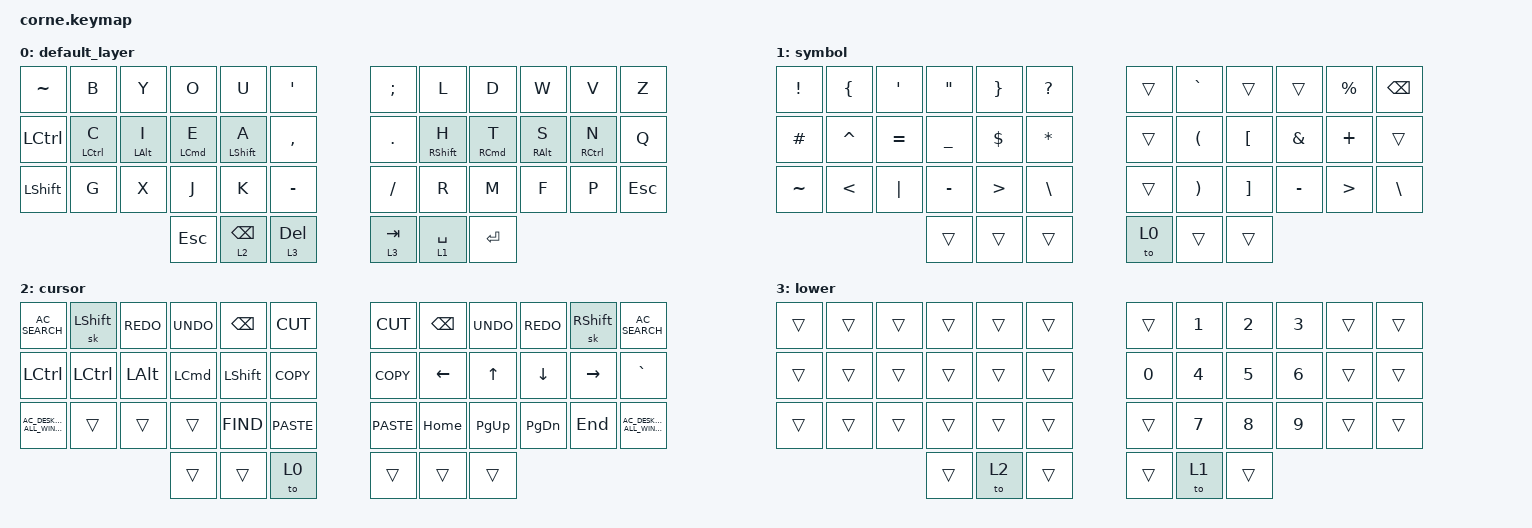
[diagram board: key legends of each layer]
/*
 * Copyright (c) 2020 The ZMK Contributors
 *
 * SPDX-License-Identifier: MIT
 */

#include <behaviors.dtsi>
#include <dt-bindings/zmk/keys.h>

/ {
    keymap {
        compatible = "zmk,keymap";

        default_layer {
            // -----------------------------------------------------------------------------------------
            // |  TAB |  Q  |  W  |  E  |  R  |  T  |   |  Y  |  U   |  I  |  O  |  P  | BSPC |
            // | CTRL |  A  |  S  |  D  |  F  |  G  |   |  H  |  J   |  K  |  L  |  ;  |  '   |
            // | SHFT |  Z  |  X  |  C  |  V  |  B  |   |  N  |  M   |  ,  |  .  |  /  | ESC  |
            //                    | GUI | LWR | SPC |   | ENT | RSE  | ALT |

            bindings = <
&kp TILDE  &kp B               &kp Y           &kp O               &kp U             &kp SINGLE_QUOTE    &kp SEMI    &kp L              &kp D       &kp W            &kp V        &kp Z
&kp LCTRL  &mt LEFT_CONTROL C  &mt LEFT_ALT I  &mt LEFT_COMMAND E  &mt LEFT_SHIFT A  &kp COMMA           &kp PERIOD  &mt RIGHT_SHIFT H  &mt RCMD T  &mt RIGHT_ALT S  &mt RCTRL N  &kp Q
&kp LSHFT  &kp G               &kp X           &kp J               &kp K             &kp MINUS           &kp SLASH   &kp R              &kp M       &kp F            &kp P        &kp ESC
                                               &kp ESCAPE          &lt 2 BACKSPACE   &lt 3 DEL           &lt 3 TAB   &lt 1 SPACE        &kp RET
            >;
        };

        symbol {
            // -----------------------------------------------------------------------------------------
            // |  TAB |  1  |  2  |  3  |  4  |  5  |   |  6  |  7  |  8  |  9  |  0  | BSPC |
            // | BTCLR| BT1 | BT2 | BT3 | BT4 | BT5 |   | LFT | DWN |  UP | RGT |     |      |
            // | SHFT |     |     |     |     |     |   |     |     |     |     |     |      |
            //                    | GUI |     | SPC |   | ENT |     | ALT |

            bindings = <
&kp EXCLAMATION  &kp LEFT_BRACE  &kp SQT    &kp DOUBLE_QUOTES  &kp RIGHT_BRACE   &kp QUESTION     &trans  &kp GRAVE              &trans             &trans         &kp PERCENT       &kp BSPC
&kp HASH         &kp CARET       &kp EQUAL  &kp UNDERSCORE     &kp DOLLAR        &kp ASTERISK     &trans  &kp LEFT_PARENTHESIS   &kp LEFT_BRACKET   &kp AMPERSAND  &kp PLUS          &trans
&kp TILDE        &kp LESS_THAN   &kp PIPE   &kp MINUS          &kp GREATER_THAN  &kp BACKSLASH    &trans  &kp RIGHT_PARENTHESIS  &kp RIGHT_BRACKET  &kp MINUS      &kp GREATER_THAN  &kp BACKSLASH
                                            &trans             &trans            &trans           &to 0   &trans                 &trans
            >;
        };

        cursor {
            // -----------------------------------------------------------------------------------------
            // |  TAB |  !  |  @  |  #  |  $  |  %  |   |  ^  |  &  |  *  |  (  |  )  | BSPC |
            // | CTRL |     |     |     |     |     |   |  -  |  =  |  [  |  ]  |  \  |  `   |
            // | SHFT |     |     |     |     |     |   |  _  |  +  |  {  |  }  | "|" |  ~   |
            //                    | GUI |     | SPC |   | ENT |     | ALT |

            bindings = <
&kp C_AC_SEARCH                    &sk LEFT_SHIFT  &kp K_REDO    &kp K_UNDO  &kp BACKSPACE   &kp K_CUT      &kp K_CUT    &kp BACKSPACE  &kp K_UNDO    &kp K_REDO  &sk RIGHT_SHIFT  &kp C_AC_SEARCH
&kp LCTRL                          &kp LCTRL       &kp LEFT_ALT  &kp LCMD    &kp LEFT_SHIFT  &kp K_COPY     &kp K_COPY   &kp LEFT       &kp UP_ARROW  &kp DOWN    &kp RIGHT_ARROW  &kp GRAVE
&kp C_AC_DESKTOP_SHOW_ALL_WINDOWS  &trans          &trans        &trans      &kp K_FIND      &kp K_PASTE    &kp K_PASTE  &kp HOME       &kp PG_UP     &kp PG_DN   &kp END          &kp C_AC_DESKTOP_SHOW_ALL_WINDOWS
                                                                 &trans      &trans          &to 0          &trans       &trans         &trans
            >;
        };

        lower {
            bindings = <
&trans  &trans  &trans  &trans  &trans  &trans    &trans        &kp NUMBER_1  &kp NUMBER_2  &kp NUMBER_3  &trans  &trans
&trans  &trans  &trans  &trans  &trans  &trans    &kp NUMBER_0  &kp NUMBER_4  &kp NUMBER_5  &kp NUMBER_6  &trans  &trans
&trans  &trans  &trans  &trans  &trans  &trans    &trans        &kp NUMBER_7  &kp NUMBER_8  &kp NUMBER_9  &trans  &trans
                        &trans  &to 2   &trans    &trans        &to 1         &trans
            >;
        };
    };
};
